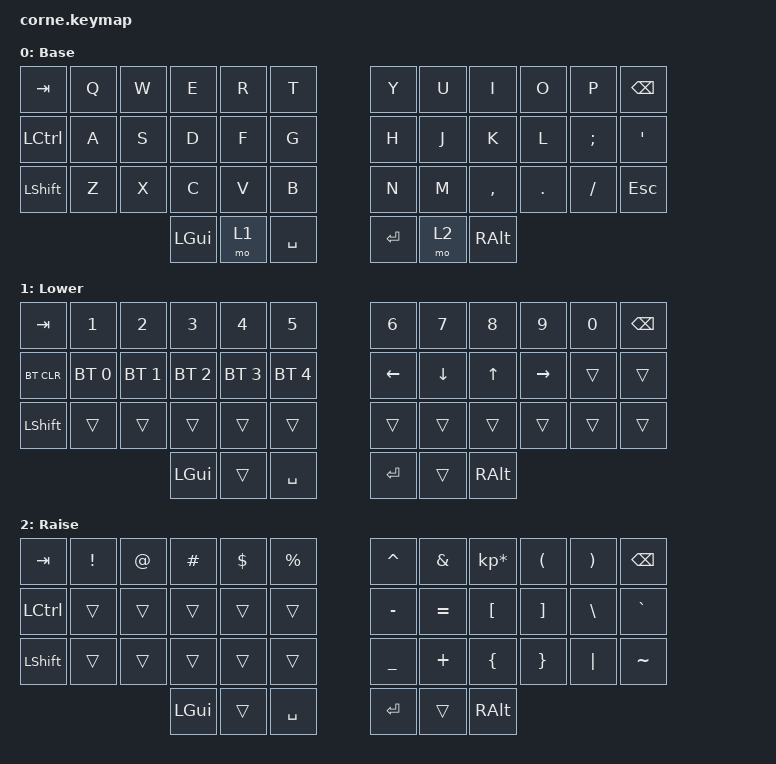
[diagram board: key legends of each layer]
/*
 * Copyright (c) 2020 The ZMK Contributors
 *
 * SPDX-License-Identifier: MIT
 */

#include <behaviors.dtsi>
#include <dt-bindings/zmk/keys.h>
#include <dt-bindings/zmk/bt.h>

/ {

  behaviors {

    hm: homerow_mods {
        compatible = "zmk,behavior-hold-tap";
        label = "HOMEROW_MODS";
        flavor = "balanced";
        #binding-cells = <2>;
        tapping-term-ms = <280>;
        quick-tap-ms = <175>;
        require-prior-idle-ms = <150>;
        bindings = <&kp>, <&kp>;
        hold-trigger-on-release;
    };

    shift_mo: shift_mo_tog {
        compatible = "zmk,behavior-hold-tap";
        label = "shift_mo";
        #binding-cells = <2>;
        tapping-term-ms = <110>;
        quick-tap-ms = <175>;
        flavor = "hold-preferred";
        hold-trigger-on-release;
        bindings = <&kp>, <&kp>;
    };

    brac_mo: brackets_layer_mo_tog {
        compatible = "zmk,behavior-hold-tap";
        label = "brac_mo";
        #binding-cells = <2>;
        tapping-term-ms = <110>;
        quick-tap-ms = <175>;
        flavor = "hold-preferred";
        hold-trigger-on-release;
        bindings = <&mo>, <&kp>;
    };

    instant_layer: instant_layer_tap {
        compatible = "zmk,behavior-hold-tap";
        label = "instant_layer";
        #binding-cells = <2>;
        tapping-term-ms = <150>;
        quick-tap-ms = <175>;
        flavor = "tap-preferred";
        hold-trigger-on-release;
        bindings = <&mo>, <&kp>;
    };
  };
  combos {
    compatible = "zmk,combos";
    combo_caps_word {
      timeout-ms = <50>;
      key-positions = <24 35>;
      bindings = <&caps_word>;
    };
  };
        keymap {
                compatible = "zmk,keymap";

                default_layer {
// -----------------------------------------------------------------------------------------
// |  TAB |  Q  |  W  |  E  |  R  |  T  |   |  Y  |  U   |  I  |  O  |  P  | BKSP |
// | CTRL |  A  |  S  |  D  |  F  |  G  |   |  H  |  J   |  K  |  L  |  ;  |  '   |
// | SHFT |  Z  |  X  |  C  |  V  |  B  |   |  N  |  M   |  ,  |  .  |  /  | ESC  |
//                    | GUI | LWR | SPC |   | ENT | RSE  | ALT |
                        display-name = "Base";
                        bindings = <
   &kp TAB   &kp Q &kp W &kp E &kp R &kp T   &kp Y &kp U  &kp I     &kp O   &kp P    &kp BSPC
   &kp LCTRL &kp A &kp S &kp D &kp F &kp G   &kp H &kp J  &kp K     &kp L   &kp SEMI &kp SQT
   &kp LSHFT &kp Z &kp X &kp C &kp V &kp B   &kp N &kp M  &kp COMMA &kp DOT &kp FSLH &kp ESC
                  &kp LGUI &mo 1 &kp SPACE   &kp RET &mo 2 &kp RALT
                        >;
                };
                lower_layer {
// -----------------------------------------------------------------------------------------
// |  TAB |  1  |  2  |  3  |  4  |  5  |   |  6  |  7  |  8  |  9  |  0  | BKSP |
// | BTCLR| BT1 | BT2 | BT3 | BT4 | BT5 |   | LFT | DWN |  UP | RGT |     |      |
// | SHFT |     |     |     |     |     |   |     |     |     |     |     |      |
//                    | GUI |     | SPC |   | ENT |     | ALT |
                        display-name = "Lower";
                        bindings = <
   &kp TAB    &kp N1       &kp N2       &kp N3       &kp N4       &kp N5         &kp N6   &kp N7   &kp N8 &kp N9    &kp N0 &kp BSPC
   &bt BT_CLR &bt BT_SEL 0 &bt BT_SEL 1 &bt BT_SEL 2 &bt BT_SEL 3 &bt BT_SEL 4   &kp LEFT &kp DOWN &kp UP &kp RIGHT &trans &trans
   &kp LSHFT  &trans       &trans       &trans       &trans       &trans         &trans   &trans   &trans &trans    &trans &trans
                          	        &kp LGUI     &trans       &kp SPACE      &kp RET  &trans   &kp RALT
                        >;
                };

                raise_layer {
// -----------------------------------------------------------------------------------------
// |  TAB |  !  |  @  |  #  |  $  |  %  |   |  ^  |  &  |  *  |  (  |  )  | BKSP |
// | CTRL |     |     |     |     |     |   |  -  |  =  |  [  |  ]  |  \  |  `   |
// | SHFT |     |     |     |     |     |   |  _  |  +  |  {  |  }  | "|" |  ~   |
//                    | GUI |     | SPC |   | ENT |     | ALT |
                        display-name = "Raise";
                        bindings = <
   &kp  TAB  &kp EXCL &kp AT &kp HASH &kp DLLR &kp PRCNT   &kp CARET &kp AMPS  &kp KP_MULTIPLY &kp LPAR &kp RPAR &kp BSPC
   &kp LCTRL &trans   &trans &trans   &trans   &trans      &kp MINUS &kp EQUAL &kp LBKT        &kp RBKT &kp BSLH &kp GRAVE
   &kp LSHFT &trans   &trans &trans   &trans   &trans      &kp UNDER &kp PLUS  &kp LBRC        &kp RBRC &kp PIPE &kp TILDE
                    	     &kp LGUI &trans   &kp SPACE   &kp RET   &trans    &kp RALT
                        >;
                };

                extra_1 {
                        status = "reserved";
                };

                extra_2 {
                        status = "reserved";
                };

                extra_3 {
                        status = "reserved";
                };
        };
};
